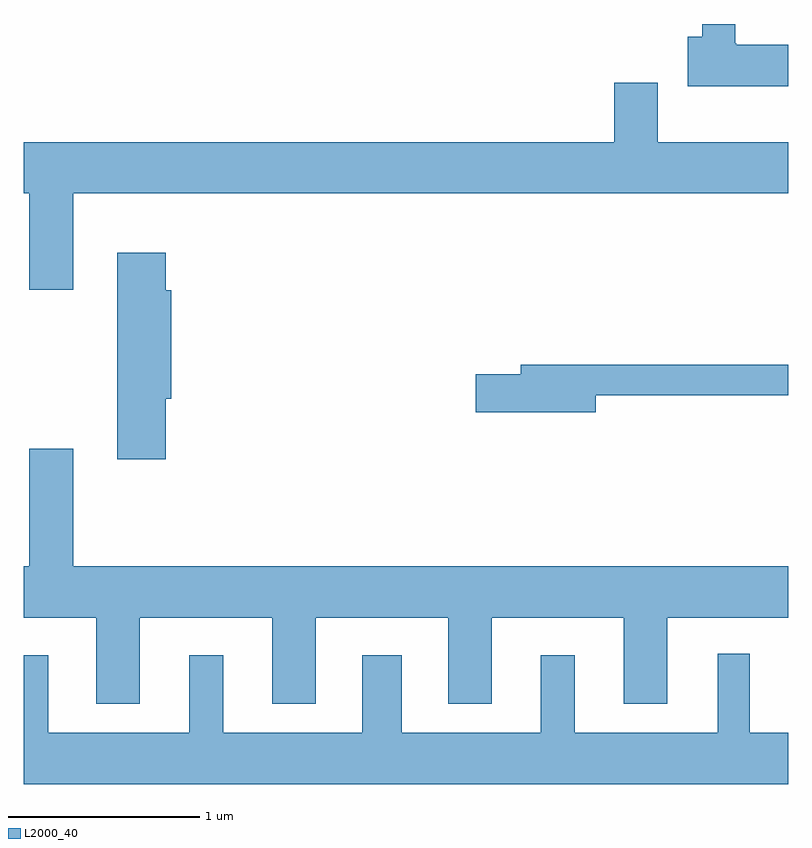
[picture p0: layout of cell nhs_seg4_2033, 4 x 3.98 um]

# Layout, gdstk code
import gdstk
lib = gdstk.Library(unit=1e-6, precision=1e-09)
def P(c, l, *ps):  # polygons
    for p in ps: c.add(gdstk.Polygon(p, *l))
L2000_40 = (2000, 40)

nhs_seg4_2033 = lib.new_cell('nhs_seg4_2033')
P(nhs_seg4_2033, L2000_40, [(247.611,1379.874),(247.34,1379.874),(247.34,1379.88),(247.334,1379.88),(247.334,1379.982),(247.161,1379.982),(247.161,1379.914),(247.086,1379.914),(247.086,1379.656),(247.611,1379.656)],
  [(243.869,1379.096),(247.611,1379.096),(247.611,1379.364),(246.929,1379.364),(246.929,1379.674),(246.701,1379.674),(246.701,1379.364),(243.611,1379.364),(243.611,1379.096),(243.641,1379.096),(243.641,1378.591),(243.869,1378.591)],
  [(244.354,1378.021),(244.384,1378.021),(244.384,1378.589),(244.354,1378.589),(244.354,1378.784),(244.101,1378.784),(244.101,1377.706),(244.354,1377.706)],
  [(246.604,1378.041),(247.611,1378.041),(247.611,1378.199),(246.211,1378.199),(246.211,1378.149),(245.976,1378.149),(245.976,1377.951),(246.604,1377.951)],
  [(244.219,1376.876),(244.911,1376.876),(244.911,1376.426),(245.139,1376.426),(245.139,1376.876),(245.831,1376.876),(245.831,1376.426),(246.059,1376.426),(246.059,1376.876),(246.751,1376.876),(246.751,1376.426),(246.979,1376.426),(246.979,1376.876),(247.611,1376.876),(247.611,1377.144),(243.869,1377.144),(243.869,1377.759),(243.641,1377.759),(243.641,1377.144),(243.611,1377.144),(243.611,1376.876),(243.991,1376.876),(243.991,1376.426),(244.219,1376.426)],
  [(247.611,1376.274),(247.409,1376.274),(247.409,1376.688),(247.241,1376.688),(247.241,1376.274),(246.494,1376.274),(246.494,1376.679),(246.316,1376.679),(246.316,1376.274),(245.589,1376.274),(245.589,1376.679),(245.381,1376.679),(245.381,1376.274),(244.654,1376.274),(244.654,1376.679),(244.476,1376.679),(244.476,1376.274),(243.739,1376.274),(243.739,1376.679),(243.611,1376.679),(243.611,1376.006),(247.611,1376.006)])

lib.write_gds('nhs_seg4_2033.gds')
